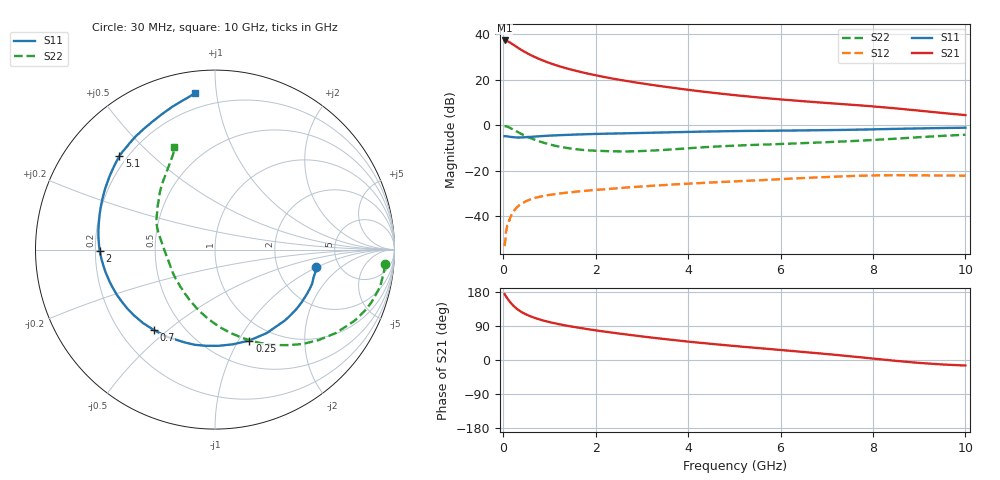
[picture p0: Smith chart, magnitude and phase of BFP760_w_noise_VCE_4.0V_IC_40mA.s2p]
! Infineon Technologies  Discrete & RF Semiconductors
! BFP760
! VCE =  4.0 V,  IC =  40 mA
! Common Emitter S-Parameters:  Nov 2012
# GHz  S  MA  R  50
!  f  S11  S21  S12  S22
! GHz  MAG  ANG  MAG  ANG  MAG  ANG  MAG  ANG
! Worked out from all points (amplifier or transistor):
!   99 points, 30 MHz to 10 GHz, reference 50 ohm
!   highest |S21| = 37.2 dB at 30 MHz (marker M1)
!   |S21| within 3 dB of that: start of sweep to 304.2 MHz
!   unconditionally stable (mu >= 1): 3.92 GHz to end of sweep
!   at 350 MHz: K = 0.35, MSG = 34.4 dB, |S12| = -35.1 dB
!   at 3.5 GHz: K = 0.97, MSG = 21.6 dB, |S12| = -26.3 dB
!   at 10 GHz: K = 1.05, MAG = 11.9 dB, |S12| = -22.2 dB
!   lowest NFmin = 0.92 dB at 900 MHz
!   S11 on the Smith chart (normalised r, x): 30 MHz: 3.39, -0.95; 250 MHz: 0.78, -1.11; 700 MHz: 0.34, -0.45; 2 GHz: 0.22, -0.00; 5.1 GHz: 0.17, +0.40; 10 GHz: 0.11, +0.88
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0.03  0.5724 -9.5  72.59 174.0  0.0022 73.8  0.9502 -4.9
0.07  0.5714 -22.4  71.31 166.0  0.0049 76.7  0.9414 -13.0
0.1  0.5649 -31.4  69.14 160.7  0.0063 70.1  0.9197 -18.6
0.13  0.5579 -40.1  66.61 155.7  0.0083 71.0  0.8912 -23.9
0.15  0.5542 -45.7  64.93 152.6  0.0093 68.0  0.8712 -27.2
0.2  0.5471 -58.3  60.33 145.7  0.0117 64.8  0.8184 -34.6
0.25  0.5414 -69.3  55.93 139.7  0.014 62.0  0.7666 -41.1
0.35  0.5365 -87.8  47.89 130.2  0.0175 56.4  0.6754 -52.0
0.45  0.5422 -102.0  41.59 123.0  0.0202 52.5  0.6021 -61.2
0.6  0.5539 -118.6  34.46 114.8  0.0237 48.0  0.5158 -72.7
0.7  0.563 -127.2  30.85 110.4  0.0255 45.4  0.4717 -79.6
0.9  0.5811 -140.8  25.38 103.1  0.0283 41.8  0.4041 -92.0
1.1  0.5952 -151.1  21.46 97.3  0.0304 39.4  0.3575 -102.9
1.4  0.6134 -162.8  17.36 90.0  0.0332 37.6  0.3136 -117.0
1.7  0.6284 -172.0  14.55 83.9  0.0356 36.8  0.2869 -129.4
2  0.6425 -179.5  12.5 78.3  0.0379 35.9  0.2747 -140.8
2.6  0.6618 168.4  9.602 68.4  0.0422 35.0  0.2654 -159.6
3.4  0.6896 155.0  7.218 56.6  0.0479 34.0  0.2834 179.8
5.1  0.7442 135.7  4.474 36.0  0.0589 30.5  0.3585 155.4
6.7  0.7726 124.1  3.238 19.0  0.0706 25.9  0.4112 140.3
8.5  0.8303 106.7  2.336 -2.3  0.0797 14.9  0.5056 122.6
10  0.8804 97.1  1.668 -14.6  0.078 9.9  0.6161 111.8
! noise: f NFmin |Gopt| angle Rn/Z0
0.9  0.92  0.23  -166  0.11
1.8  0.94  0.24  -157  0.08
2.4  0.99  0.25  -149  0.08
3.5  1.15  0.25  -138  0.18
5.5  1.38  0.32  -79  0.5
8  1.61  0.47  -57  0.52
